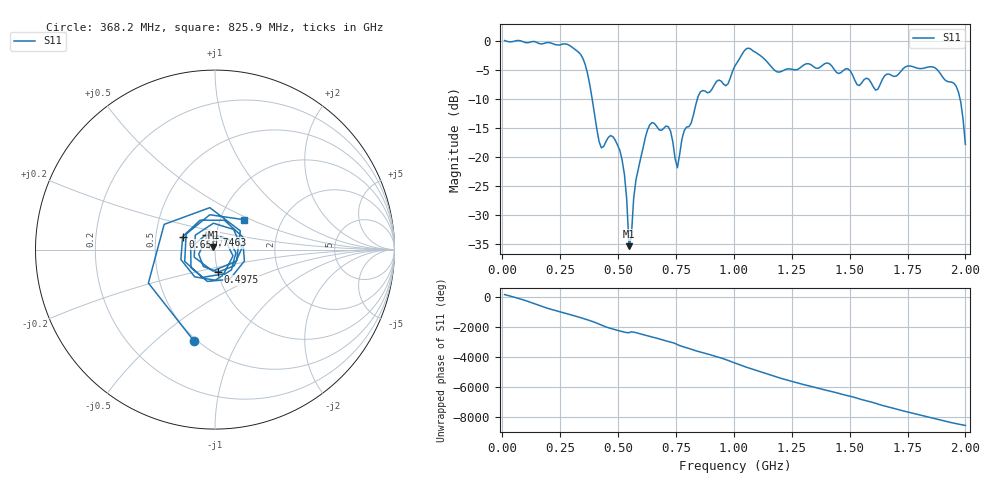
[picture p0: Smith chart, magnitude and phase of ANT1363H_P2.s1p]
!Created with skrf (http://scikit-rf.org).
# Hz S RI R 50.0
!freq ReS11 ImS11
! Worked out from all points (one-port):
!   201 points, 10 MHz to 2 GHz, reference 50 ohm
!   lowest |S11| = -35.3 dB at 547.3 MHz (marker M1), VSWR 1.03, Z = 49.1 + j1.44 ohm
!   |S11| at or under -10 dB: 388.1 MHz to 842.6 MHz (454.5 MHz wide, 73.9 % of centre); 1.977 GHz to end of sweep
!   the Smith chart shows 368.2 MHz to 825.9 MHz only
!   S11 on the Smith chart (normalised r, x): 368.2 MHz: 0.48, -0.67; 497.6 MHz: 1.00, -0.26; 656.8 MHz: 0.69, +0.10; 746.3 MHz: 0.89, +0.15; 825.9 MHz: 1.29, +0.46
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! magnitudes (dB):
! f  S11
! 10 MHz  0.0
! 258.8 MHz  -0.6
! 368.2 MHz  -5.6
! 427.9 MHz  -18.4
! 497.6 MHz  -17.9
! 507.5 MHz  -18.8
! 527.4 MHz  -23.0
! 547.3 MHz  -35.3
! 557.2 MHz  -33.7
! 577.1 MHz  -23.9
! 626.9 MHz  -15.4
! 656.8 MHz  -14.2
! 716.5 MHz  -14.8
! 746.3 MHz  -20.3
! 756.2 MHz  -21.8
! 786.1 MHz  -15.4
! 825.9 MHz  -12.7
! 855.8 MHz  -8.8
! 965.2 MHz  -7.7
! 1.005 GHz  -4.3
! 1.065 GHz  -1.3
! 1.254 GHz  -4.9
! 1.502 GHz  -5.2
! 1.612 GHz  -8.5
! 1.751 GHz  -4.4
! 1.96 GHz  -7.8
! 1.98 GHz  -10.6
! 2 GHz  -17.8
